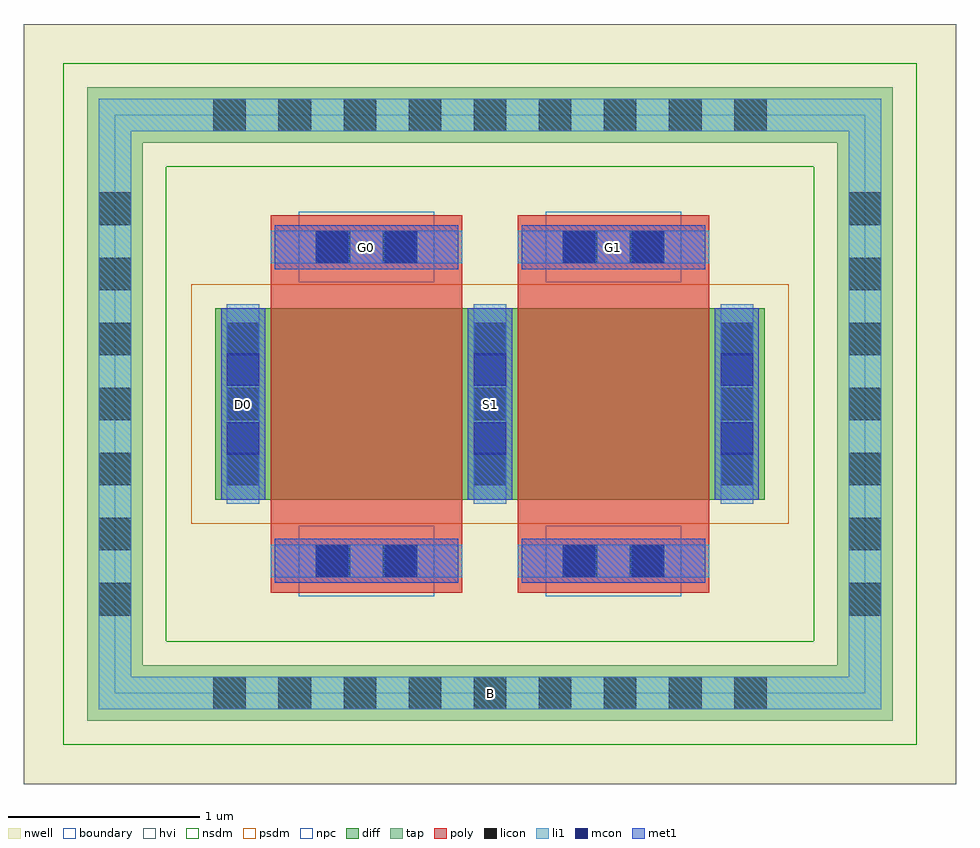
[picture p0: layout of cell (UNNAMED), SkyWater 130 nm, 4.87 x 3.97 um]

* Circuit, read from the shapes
.subckt (UNNAMED) B D0 G0 G1 S1
XM1 S1 G0 D0 B sky130_fd_pr__pfet_g5v0d10v5 w=1 l=1
XM2 n1 G1 S1 B sky130_fd_pr__pfet_g5v0d10v5 w=1 l=1
.ends

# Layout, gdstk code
import gdstk
lib = gdstk.Library(unit=1e-6, precision=1e-09)
def R(c, l, rs):  # rectangles x0, y0, x1, y1
    for r in rs: c.add(gdstk.rectangle(r[:2], r[2:], *l))
def A(c, l, x, y, w, h, nx, ny, dx, dy):  # array of equal rectangles
    R(c, l, [(x+i*dx, y+j*dy, x+i*dx+w, y+j*dy+h) for i in range(nx) for j in range(ny)])
nwell = (64, 20)
diff = (65, 20)
tap = (65, 44)
poly = (66, 20)
licon = (66, 44)
li1 = (67, 20)
mcon = (67, 44)
met1 = (68, 20)
hvi = (75, 20)
nsdm = (93, 44)
psdm = (94, 20)
npc = (95, 20)
boundary = (235, 4)

c__unnamed_ = lib.new_cell('(UNNAMED)')
R(c__unnamed_, nwell, [(-2.435,-1.985,2.435,1.985)])
R(c__unnamed_, diff, [(-1.435,-0.5,1.435,0.5)])
R(c__unnamed_, tap, [(-2.105,-1.655,2.105,-1.365), (-2.105,-1.365,-1.815,1.365), (1.815,-1.365,2.105,1.365), (-2.105,1.365,2.105,1.655)])
R(c__unnamed_, poly, [(-1.145,-0.985,-0.145,0.985), (0.145,-0.985,1.145,0.985)])
A(c__unnamed_, licon, -1.445, -1.595, 0.17, 0.17, 9, 2, 0.34, 3.02)
A(c__unnamed_, licon, -2.045, -1.105, 0.17, 0.17, 1, 7, 0, 0.34)
A(c__unnamed_, licon, 1.875, -1.105, 0.17, 0.17, 1, 7, 0, 0.34)
A(c__unnamed_, licon, -1.375, -0.425, 0.17, 0.17, 3, 3, 1.29, 0.34)
R(c__unnamed_, licon, [(-0.9,-0.905,-0.73,-0.735), (-0.56,-0.905,-0.39,-0.735), (0.39,-0.905,0.56,-0.735), (0.73,-0.905,0.9,-0.735), (-0.9,0.735,-0.73,0.905), (-0.56,0.735,-0.39,0.905), (0.39,0.735,0.56,0.905), (0.73,0.735,0.9,0.905)])
A(c__unnamed_, li1, -1.375, -0.52, 0.17, 1.04, 3, 1, 1.29, 0)
R(c__unnamed_, li1, [(-2.045,-1.595,2.045,-1.425), (-2.045,-1.425,-1.875,1.425), (1.875,-1.425,2.045,1.425), (-1.145,-0.905,-0.145,-0.735), (0.145,-0.905,1.145,-0.735), (-1.145,0.735,-0.145,0.905), (0.145,0.735,1.145,0.905), (-2.045,1.425,2.045,1.595)])
A(c__unnamed_, mcon, -1.375, -0.265, 0.17, 0.17, 3, 2, 1.29, 0.36)
R(c__unnamed_, mcon, [(-0.91,-0.905,-0.74,-0.735), (-0.55,-0.905,-0.38,-0.735), (0.38,-0.905,0.55,-0.735), (0.74,-0.905,0.91,-0.735), (-0.91,0.735,-0.74,0.905), (-0.55,0.735,-0.38,0.905), (0.38,0.735,0.55,0.905), (0.74,0.735,0.91,0.905)])
A(c__unnamed_, met1, -1.405, -0.5, 0.23, 1, 3, 1, 1.29, 0)
R(c__unnamed_, met1, [(-1.125,-0.935,-0.165,-0.705), (0.165,-0.935,1.125,-0.705), (-1.125,0.705,-0.165,0.935), (0.165,0.705,1.125,0.935)])
R(c__unnamed_, hvi, [(-2.435,-1.985,2.435,1.985)])
R(c__unnamed_, nsdm, [(-2.23,-1.78,2.23,-1.24), (-2.23,-1.24,-1.69,1.24), (1.69,-1.24,2.23,1.24), (-2.23,1.24,2.23,1.78)])
R(c__unnamed_, psdm, [(-1.56,-0.625,1.56,0.625)])
R(c__unnamed_, npc, [(-1,-1.005,-0.29,-0.635), (0.29,-1.005,1,-0.635), (-1,0.635,-0.29,1.005), (0.29,0.635,1,1.005)])
R(c__unnamed_, boundary, [(-1.96,-1.51,1.96,1.51)])
c__unnamed_.add(gdstk.Label('B', (0,-1.51), layer=67, texttype=5))
c__unnamed_.add(gdstk.Label('D0', (-1.29,0), layer=67, texttype=5))
c__unnamed_.add(gdstk.Label('G0', (-0.645,0.82), layer=67, texttype=5))
c__unnamed_.add(gdstk.Label('S1', (0,0), layer=67, texttype=5))
c__unnamed_.add(gdstk.Label('G1', (0.645,0.82), layer=67, texttype=5))

lib.write_gds('_UNNAMED_.gds')
